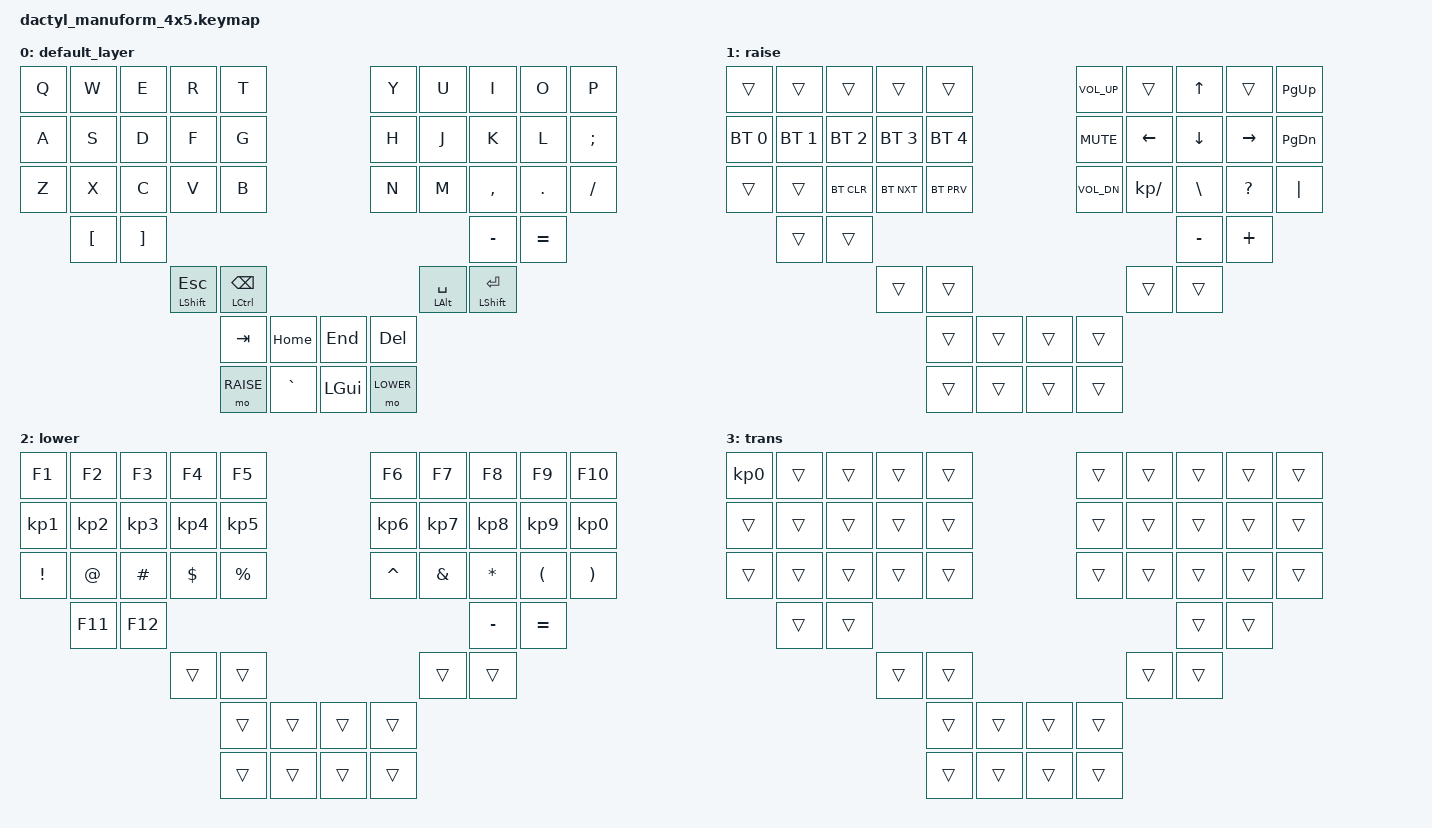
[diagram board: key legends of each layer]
#include <behaviors.dtsi>
#include <dt-bindings/zmk/keys.h>
#include <dt-bindings/zmk/bt.h>

#define DEFAULT 0
#define RAISE   1
#define LOWER   2

/ {
    keymap {
        compatible = "zmk,keymap";

        default_layer {
// -------------------------------------------------------------------------------------------------------------------------
// |    Q    |    W    |    E    |    R    |    T    |                   |    Y    |    U    |    I    |    O    |    P    |
// |    A    |    S    |    D    |    F    |    G    |                   |    H    |    J    |    K    |    L    |    ;    |
// |    Z    |    X    |    C    |    V    |    B    |                   |    N    |    M    |    ,    |    .    |    /    |
//           |    [    |    ]    |                                                           |    -    |    =    |
//                               |ESC+SHFT |BS + CTRL|                   |SPC + ALT|ENTR+SHFT|
//                                         |   TAB   |   HOME  |   END   |   DEL   |
//                                         |  Raise  |    ~    |   GUI   |  Lower  |
            bindings = <
    &kp Q     &kp W    &kp E     &kp R     &kp T                          &kp Y     &kp U     &kp I     &kp O     &kp P
    &kp A     &kp S    &kp D     &kp F     &kp G                          &kp H     &kp J     &kp K     &kp L     &kp SEMI
    &kp Z     &kp X    &kp C     &kp V     &kp B                          &kp N     &kp M     &kp COMMA &kp DOT   &kp FSLH
              &kp LBKT &kp RBKT                                                               &kp MINUS  &kp EQUAL
                                 &mt LSHFT ESC &mt LCTRL BSPC                   &mt LALT SPACE &mt LSHFT ENTER
                                            &kp TAB  &kp HOME  &kp END    &kp DEL
                                           &mo RAISE &kp GRAVE &kp LGUI   &mo LOWER
            >;
        };

        raise {
// ZMK doesn't support mouse behaviors, so unlike QMK, this default keymap
// exchanges that behavior for Bluetooth behavior
// -------------------------------------------------------------------------------------------------------------------------
// |         |         |         |         |         |                   |  Vol +  |         |    up   |         |   PgUp  |
// |   BT1   |   BT2   |   BT3   |   BT4   |   BT5   |                   |  Mute   |   left  |   down  |  right  |   PgDn  |
// |         |         |  BTCLR  |  BTNXT  |  BTPRV  |                   |  Vol -  |    /    |    \    |    ?    |    |    |
//           |         |         |                                                           |    -    |    +    |
//                               |         |         |                   |         |         |
//                                         |         |         |         |         |
//                                         |         |         |         |         |
            bindings = <
    &trans    &trans    &trans    &trans    &trans                        &kp C_VOL_UP &trans &kp UP    &trans    &kp PG_UP
    &bt BT_SEL 0 &bt BT_SEL 1 &bt BT_SEL 2 &bt BT_SEL 3 &bt BT_SEL 4      &kp C_MUTE &kp LEFT &kp DOWN  &kp RIGHT &kp PG_DN
    &trans    &trans    &bt BT_CLR &bt BT_NXT &bt BT_PRV                  &kp C_VOL_DN &kp KP_SLASH &kp BSLH &kp QMARK &kp PIPE
              &trans    &trans                                                                &kp MINUS &kp PLUS
                                  &trans    &trans                        &trans     &trans
                                            &trans    &trans    &trans    &trans
                                            &trans    &trans    &trans    &trans
            >;
        };

        lower {
// -------------------------------------------------------------------------------------------------------------------------
// |   F1    |   F2    |   F3    |   F4    |   F5    |                   |   F6    |   F7    |   F8    |   F9    |   F10   |
// |    1    |    2    |    3    |    4    |    5    |                   |    6    |    7    |    8    |    9    |    0    |
// |    !    |    @    |    #    |    $    |    %    |                   |    ^    |    &    |    *    |    (    |    )    |
//           |         |   F11   |   F12                                                     |    -    |    =    |
//                               |         |         |                   |         |         |
//                                         |         |         |         |         |
//                                         |         |         |         |         |
            bindings = <
    &kp F1    &kp F2   &kp F3    &kp F4    &kp F5                         &kp F6    &kp F7    &kp F8    &kp F9    &kp F10
    &kp KP_N1 &kp KP_N2 &kp KP_N3 &kp KP_N4 &kp KP_N5                     &kp KP_N6 &kp KP_N7 &kp KP_N8 &kp KP_N9 &kp KP_N0
    &kp EXCL  &kp AT   &kp HASH  &kp DLLR  &kp PRCNT                      &kp CARET &kp AMPS  &kp STAR  &kp LPAR  &kp RPAR
              &kp F11  &kp F12                                                                &kp MINUS &kp EQUAL
                                 &trans    &trans                        &trans     &trans
                                           &trans    &trans    &trans    &trans
                                           &trans    &trans    &trans    &trans
            >;
        };

        // This layer is for easier copy/paste when creating new keymaps, so you have transparent keys already added
        trans {
// -------------------------------------------------------------------------------------------------------------------------
// |         |         |         |         |         |                   |         |         |         |         |         |
// |         |         |         |         |         |                   |         |         |         |         |         |
// |         |         |         |         |         |                   |         |         |         |         |         |
//           |         |         |                                                           |         |         |
//                               |         |         |                   |         |         |
//                                         |         |         |         |         |
//                                         |         |         |         |         |
// I added a zero key because Zephyr won't compile with a only-transparent layer
            bindings = <
    &kp KP_N0 &trans    &trans    &trans    &trans                        &trans    &trans    &trans    &trans    &trans
    &trans    &trans    &trans    &trans    &trans                        &trans    &trans    &trans    &trans    &trans
    &trans    &trans    &trans    &trans    &trans                        &trans    &trans    &trans    &trans    &trans
              &trans    &trans                                                                &trans    &trans
                                  &trans    &trans                        &trans    &trans
                                            &trans    &trans    &trans    &trans
                                            &trans    &trans    &trans    &trans
            >;
        };
    };
};
